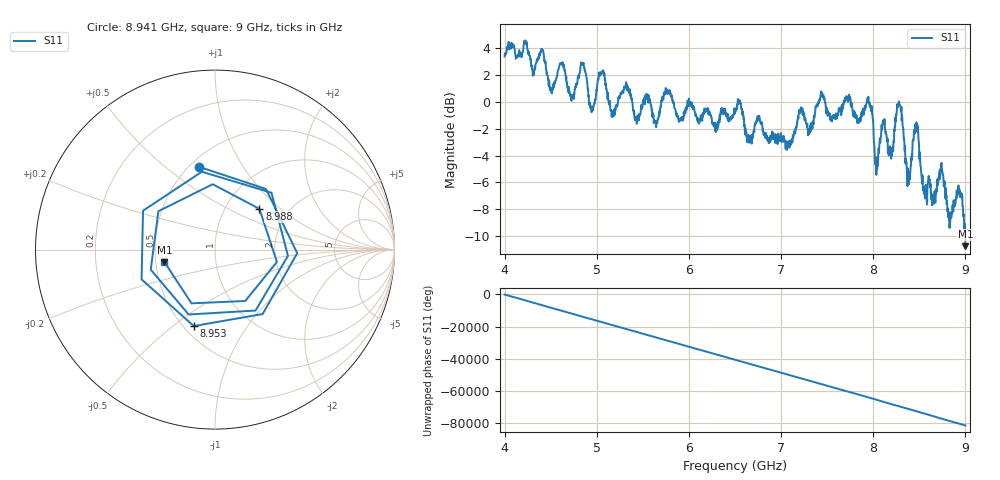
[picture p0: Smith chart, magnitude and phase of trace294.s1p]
! Created with skrf 1.8.0 (http://scikit-rf.org).
# Hz S RI R 50.0
!freq ReS11 ImS11
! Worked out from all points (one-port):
!   1601 points, 4 GHz to 9 GHz, reference 50 ohm
!   lowest |S11| = -10.8 dB at 9 GHz (marker M1), VSWR 1.82, Z = 27.8 - j4.22 ohm
!   |S11| at or under -10 dB: 8.997825 GHz to end of sweep
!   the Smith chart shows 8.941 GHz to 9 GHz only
!   S11 on the Smith chart (normalised r, x): 8.941 GHz: 0.56, +0.66; 8.953 GHz: 0.56, -0.60; 8.988 GHz: 1.44, +0.73; 9 GHz: 0.56, -0.08
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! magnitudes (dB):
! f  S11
! 4 GHz  3.4
! 4.403 GHz  4.0
! 4.512 GHz  0.7
! 4.625 GHz  2.8
! 4.731 GHz  0.5
! 4.85 GHz  2.8
! 4.941 GHz  -0.4
! 5.047 GHz  2.2
! 5.169 GHz  -0.7
! 5.25 GHz  0.4
! 5.875 GHz  -1.1
! 6.5 GHz  -0.9
! 7.125 GHz  -2.8
! 7.75 GHz  0.3
! 7.959 GHz  0.0
! 8.038 GHz  -4.1
! 8.112 GHz  -1.7
! 8.194 GHz  -4.2
! 8.281 GHz  0.0
! 8.375 GHz  -5.0
! 8.466 GHz  -1.7
! 8.562 GHz  -7.2
! 8.738 GHz  -4.6
! 8.831 GHz  -9.1
! 8.941 GHz  -6.6
! 8.953 GHz  -7.1
! 8.988 GHz  -9.5
! 9 GHz  -10.8
